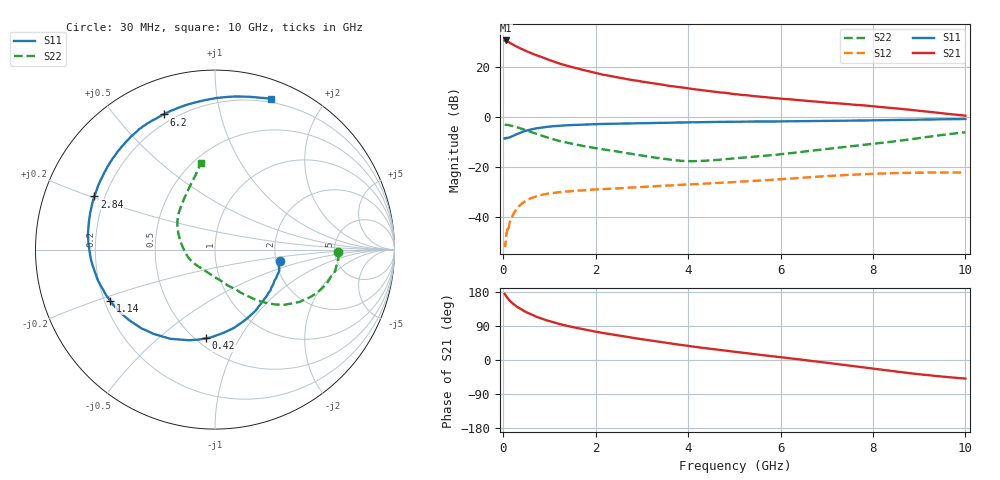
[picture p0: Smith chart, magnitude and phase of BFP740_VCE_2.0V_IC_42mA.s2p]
! Infineon Technologies  Discrete & RF Semiconductors
! BFP740
! VCE =  2.0 V,  IC =  42 mA
! Common Emitter S-Parameters:  Jan 2016
# GHz  S  MA  R  50
!  f  S11  S21  S12  S22
! GHz  MAG  ANG  MAG  ANG  MAG  ANG  MAG  ANG
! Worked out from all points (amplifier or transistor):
!   229 points, 30 MHz to 10 GHz, reference 50 ohm
!   highest |S21| = 30.4 dB at 50 MHz (marker M1)
!   |S21| within 3 dB of that: start of sweep to 352.1 MHz
!   unconditionally stable (mu >= 1): start of sweep to 167.7 MHz; 2.552 GHz to end of sweep
!   at 280 MHz: K = 0.75, MSG = 32.6 dB, |S12| = -37.2 dB
!   at 1.78 GHz: K = 0.81, MSG = 23.9 dB, |S12| = -29.3 dB
!   at 10 GHz: K = 1.25, MAG = 8.3 dB, |S12| = -22.2 dB
!   S11 on the Smith chart (normalised r, x): 30 MHz: 2.10, -0.30; 420 MHz: 0.56, -0.73; 1.14 GHz: 0.22, -0.22; 2.84 GHz: 0.16, +0.21; 6.2 GHz: 0.16, +0.68; 10 GHz: 0.17, +1.43
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0.03  0.3655 -9.6  33.02 174.7  0.003 52.2  0.685 -1.3
0.04  0.3636 -12.8  32.7 172.9  0.0026 48.0  0.6857 -2.6
0.05  0.3719 -15.6  33.14 171.3  0.0029 69.1  0.6883 -3.5
0.08  0.3754 -25.0  32.2 165.6  0.0049 62.9  0.6862 -6.3
0.12  0.3833 -36.3  30.73 159.4  0.0062 59.8  0.6806 -10.1
0.2  0.409 -56.5  27.73 149.7  0.0105 64.6  0.6515 -16.5
0.3  0.4497 -76.7  24.85 140.4  0.0144 59.4  0.6148 -23.3
0.42  0.4968 -95.8  21.91 131.4  0.0189 54.3  0.5637 -30.2
0.56  0.5416 -112.6  19.29 122.7  0.0227 48.2  0.5088 -36.6
0.7  0.5809 -126.1  16.99 115.1  0.0255 42.9  0.4584 -41.9
0.9  0.6193 -140.6  14.56 106.1  0.0283 37.8  0.3974 -47.5
1.14  0.6499 -154.0  12.13 97.4  0.0305 33.0  0.3416 -52.5
1.4  0.6745 -165.3  10.21 89.6  0.0323 29.6  0.2999 -56.9
1.7  0.6939 -175.7  8.644 81.8  0.0338 27.5  0.2623 -60.8
2.1  0.7133 172.9  7.056 72.6  0.0355 25.4  0.2268 -67.1
2.84  0.7345 156.2  5.296 57.8  0.0388 23.8  0.1766 -79.4
3.4  0.7511 145.4  4.391 47.6  0.0415 22.8  0.1471 -95.0
5.1  0.7934 121.1  2.765 20.2  0.0501 19.6  0.1495 -158.1
6.2  0.8054 110.8  2.221 4.6  0.0584 16.5  0.1859 172.5
6.8  0.8163 104.4  1.988 -4.3  0.0634 13.0  0.2156 158.9
8.4  0.8557 84.5  1.489 -28.9  0.0744 0.7  0.3155 125.5
10  0.8969 69.6  1.046 -49.1  0.0772 -10.9  0.4882 99.3
